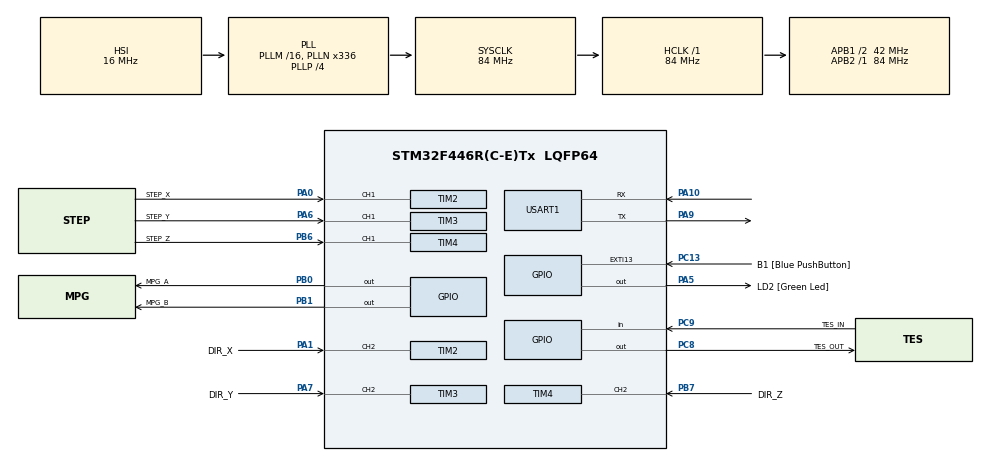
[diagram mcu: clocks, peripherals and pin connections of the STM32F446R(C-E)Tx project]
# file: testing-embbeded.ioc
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Mcu.Family=STM32F4
Mcu.Name=STM32F446R(C-E)Tx
Mcu.Package=LQFP64
NVIC.EXTI15_10_IRQn=true\:0\:0\:false\:false\:true\:true\:true\:true
NVIC.PriorityGroup=NVIC_PRIORITYGROUP_0
NVIC.USART1_IRQn=true\:0\:0\:false\:false\:true\:true\:true\:true
PA0-WKUP.GPIO_Label=STEP_X
PA0-WKUP.Signal=S_TIM2_CH1_ETR
PA1.GPIO_Label=DIR_X
PA1.Signal=S_TIM2_CH2
PA10.Mode=Asynchronous
PA10.Signal=USART1_RX
PA13.GPIO_Label=TMS
PA13.Mode=Serial_Wire
PA13.Signal=SYS_JTMS-SWDIO
PA14.GPIO_Label=TCK
PA14.Mode=Serial_Wire
PA14.Signal=SYS_JTCK-SWCLK
PA5.GPIO_Label=LD2 [Green Led]
PA5.Signal=GPIO_Output
PA6.GPIO_Label=STEP_Y
PA6.Signal=S_TIM3_CH1
PA7.GPIO_Label=DIR_Y
PA7.Signal=S_TIM3_CH2
PA9.Mode=Asynchronous
PA9.Signal=USART1_TX
PB0.GPIO_Label=MPG_A
PB0.Signal=GPIO_Output
PB1.GPIO_Label=MPG_B
PB1.Signal=GPIO_Output
PB3.GPIO_Label=SWO
PB3.Signal=SYS_JTDO-SWO
PB6.GPIO_Label=STEP_Z
PB6.Signal=S_TIM4_CH1
PB7.GPIO_Label=DIR_Z
PB7.Signal=S_TIM4_CH2
PC13.GPIO_Label=B1 [Blue PushButton]
PC13.GPIO_ModeDefaultEXTI=GPIO_MODE_IT_FALLING
PC13.Signal=GPXTI13
PC14-OSC32_IN.Mode=LSE-External-Oscillator
PC14-OSC32_IN.Signal=RCC_OSC32_IN
PC15-OSC32_OUT.Mode=LSE-External-Oscillator
PC15-OSC32_OUT.Signal=RCC_OSC32_OUT
PC8.GPIO_Label=TES_OUT
PC8.Signal=GPIO_Output
PC9.GPIO_Label=TES_IN
PC9.Signal=GPIO_Input
PH0-OSC_IN.Mode=HSE-External-Oscillator
PH0-OSC_IN.Signal=RCC_OSC_IN
PH1-OSC_OUT.Mode=HSE-External-Oscillator
PH1-OSC_OUT.Signal=RCC_OSC_OUT
ProjectManager.HeapSize=0x200
ProjectManager.StackSize=0x400
ProjectManager.TargetToolchain=STM32CubeIDE
RCC.48MHZClocksFreq_Value=84000000
RCC.AHBFreq_Value=84000000
RCC.APB1CLKDivider=RCC_HCLK_DIV2
RCC.APB1Freq_Value=42000000
RCC.APB1TimFreq_Value=84000000
RCC.APB2Freq_Value=84000000
RCC.APB2TimFreq_Value=84000000
RCC.CortexFreq_Value=84000000
RCC.FLatency-AdvancedSettings=FLASH_LATENCY_2
RCC.HCLKFreq_Value=84000000
RCC.HSE_VALUE=8000000
RCC.HSI_VALUE=16000000
RCC.PLLN=336
RCC.PLLP=RCC_PLLP_DIV4
RCC.SYSCLKFreq_VALUE=84000000
RCC.SYSCLKSource=RCC_SYSCLKSOURCE_PLLCLK
RCC.USBFreq_Value=168000000
RCC.VCOOutputFreq_Value=336000000
SH.S_TIM2_CH1_ETR.0=TIM2_CH1,Encoder_Interface
SH.S_TIM2_CH2.0=TIM2_CH2,Encoder_Interface
SH.S_TIM3_CH1.0=TIM3_CH1,Encoder_Interface
SH.S_TIM3_CH2.0=TIM3_CH2,Encoder_Interface
SH.S_TIM4_CH1.0=TIM4_CH1,Encoder_Interface
SH.S_TIM4_CH2.0=TIM4_CH2,Encoder_Interface
TIM4.EncoderMode=TIM_ENCODERMODE_TI1
USART1.VirtualMode=VM_ASYNC
board=NUCLEO-F446RE

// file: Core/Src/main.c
/* USER CODE BEGIN Header */
/* USER CODE END Header */
#include "main.h"

/* USER CODE BEGIN Includes */
#include <stdio.h>
#include <string.h>
#include <stdlib.h>
#include <stdbool.h>
/* USER CODE END Includes */

/* USER CODE BEGIN PD */
#define RX_BUFFER_SIZE 32
/* USER CODE END PD */

TIM_HandleTypeDef htim2;
TIM_HandleTypeDef htim3;
TIM_HandleTypeDef htim4;

UART_HandleTypeDef huart1;

/* USER CODE BEGIN PV */
uint8_t UART1_rxBuffer[RX_BUFFER_SIZE];
uint8_t rx_data[RX_BUFFER_SIZE];
uint8_t rx_flag = 0;
uint16_t current_x_count = 0;
uint16_t current_y_count = 0;
uint16_t current_z_count = 0;
/* USER CODE END PV */

void SystemClock_Config(void);
static void MX_GPIO_Init(void);
static void MX_TIM2_Init(void);
static void MX_TIM3_Init(void);
static void MX_TIM4_Init(void);
static void MX_USART1_UART_Init(void);
/* USER CODE BEGIN PFP */
void process_serial_command(void);
void generate_mpg_pulses(int count);
/* USER CODE END PFP */

/* USER CODE BEGIN 0 */

// Fungsi untuk mem-parsing dan mengeksekusi perintah serial
void process_serial_command(void) {

    if (strstr((char*)rx_data, "$READ") != NULL) {
        if (strstr((char*)rx_data, "$READ X") != NULL) {
            current_x_count = __HAL_TIM_GET_COUNTER(&htim2);
            char tx_buf[50];
            sprintf(tx_buf, "X:%d\r\n", current_x_count);
            HAL_UART_Transmit(&huart1, (uint8_t*)tx_buf, strlen(tx_buf), 100);
        } else if (strstr((char*)rx_data, "$READ Y") != NULL) {
            current_y_count = __HAL_TIM_GET_COUNTER(&htim3);
            char tx_buf[50];
            sprintf(tx_buf, "Y:%d\r\n", current_y_count);
            HAL_UART_Transmit(&huart1, (uint8_t*)tx_buf, strlen(tx_buf), 100);
        } else if (strstr((char*)rx_data, "$READ Z") != NULL) {
            current_z_count = __HAL_TIM_GET_COUNTER(&htim4);
            char tx_buf[50];
            sprintf(tx_buf, "Z:%d\r\n", current_z_count);
            HAL_UART_Transmit(&huart1, (uint8_t*)tx_buf, strlen(tx_buf), 100);
        }
    } else if (strstr((char*)rx_data, "$OUT =") != NULL) {
        if (strstr((char*)rx_data, "$OUT = 1") != NULL) {
            HAL_GPIO_WritePin(TES_OUT_GPIO_Port, TES_OUT_Pin, GPIO_PIN_SET);
            HAL_UART_Transmit(&huart1, (uint8_t*)"OUT:1\r\n", 7, 100);
        } else if (strstr((char*)rx_data, "$OUT = 0") != NULL) {
            HAL_GPIO_WritePin(TES_OUT_GPIO_Port, TES_OUT_Pin, GPIO_PIN_RESET);
            HAL_UART_Transmit(&huart1, (uint8_t*)"OUT:0\r\n", 7, 100);
        }
    } else if (strstr((char*)rx_data, "$IN?") != NULL) {
        GPIO_PinState pin_state = HAL_GPIO_ReadPin(TES_IN_GPIO_Port, TES_IN_Pin);
        char tx_buf[20];
        sprintf(tx_buf, "IN:%d\r\n", pin_state == GPIO_PIN_SET ? 1 : 0);
        HAL_UART_Transmit(&huart1, (uint8_t*)tx_buf, strlen(tx_buf), 100);
    } else if (strstr((char*)rx_data, "$MPG =") != NULL) {
        int count;
        sscanf((char*)rx_data, "$MPG = %d", &count);
        generate_mpg_pulses(count);
        char tx_buf[50];
        sprintf(tx_buf, "MPG:%d\r\n", count);
        HAL_UART_Transmit(&huart1, (uint8_t*)tx_buf, strlen(tx_buf), 100);
    } else if (strstr((char*)rx_data, "$$") != NULL) {
        // Tampilkan semua perintah
        HAL_UART_Transmit(&huart1, (uint8_t*)"--- Available Commands ---\r\n", 29, 100);
        HAL_UART_Transmit(&huart1, (uint8_t*)"$READ X\r\n", 9, 100);
        HAL_UART_Transmit(&huart1, (uint8_t*)"$READ Y\r\n", 9, 100);
        HAL_UART_Transmit(&huart1, (uint8_t*)"$READ Z\r\n", 9, 100);
        HAL_UART_Transmit(&huart1, (uint8_t*)"$OUT = 1\r\n", 10, 100);
        HAL_UART_Transmit(&huart1, (uint8_t*)"$OUT = 0\r\n", 10, 100);
        HAL_UART_Transmit(&huart1, (uint8_t*)"$IN?\r\n", 6, 100);
        HAL_UART_Transmit(&huart1, (uint8_t*)"$MPG = [count]\r\n", 16, 100);
        HAL_UART_Transmit(&huart1, (uint8_t*)"$$\r\n", 4, 100);
    }
}

// Fungsi untuk mensimulasikan pulsa MPG
void generate_mpg_pulses(int count) {
    // Simulasi putaran maju
    for (int i = 0; i < count; i++) {
        HAL_GPIO_WritePin(MPG_A_GPIO_Port, MPG_A_Pin, GPIO_PIN_SET);
        HAL_GPIO_WritePin(MPG_B_GPIO_Port, MPG_B_Pin, GPIO_PIN_RESET);
        HAL_Delay(5);
        HAL_GPIO_WritePin(MPG_A_GPIO_Port, MPG_A_Pin, GPIO_PIN_SET);
        HAL_GPIO_WritePin(MPG_B_GPIO_Port, MPG_B_Pin, GPIO_PIN_SET);
        HAL_Delay(5);
        HAL_GPIO_WritePin(MPG_A_GPIO_Port, MPG_A_Pin, GPIO_PIN_RESET);
        HAL_GPIO_WritePin(MPG_B_GPIO_Port, MPG_B_Pin, GPIO_PIN_SET);
        HAL_Delay(5);
        HAL_GPIO_WritePin(MPG_A_GPIO_Port, MPG_A_Pin, GPIO_PIN_RESET);
        HAL_GPIO_WritePin(MPG_B_GPIO_Port, MPG_B_Pin, GPIO_PIN_RESET);
        HAL_Delay(5);
    }
}
/* USER CODE END 0 */

int main(void)
{

  /* MCU Configuration--------------------------------------------------------*/

  /* Reset of all peripherals, Initializes the Flash interface and the Systick. */
  HAL_Init();

  /* Configure the system clock */
  SystemClock_Config();

  /* Initialize all configured peripherals */
  MX_GPIO_Init();
  MX_TIM2_Init();
  MX_TIM3_Init();
  MX_TIM4_Init();
  MX_USART1_UART_Init();
  /* USER CODE BEGIN 2 */
  // Mulai mode encoder untuk semua sumbu
   HAL_TIM_Encoder_Start(&htim2, TIM_CHANNEL_ALL);
   HAL_TIM_Encoder_Start(&htim3, TIM_CHANNEL_ALL);
   HAL_TIM_Encoder_Start(&htim4, TIM_CHANNEL_ALL);

   // Mulai penerimaan data serial
   HAL_UARTEx_ReceiveToIdle_IT(&huart1, UART1_rxBuffer, RX_BUFFER_SIZE);
  /* USER CODE END 2 */

  /* Infinite loop */
  /* USER CODE BEGIN WHILE */
       while (1)
       {
    	   if (rx_flag) {
			 process_serial_command();
			 rx_flag = 0;
		   }
    /* USER CODE END WHILE */

       }
}

void SystemClock_Config(void)
{
  RCC_OscInitTypeDef RCC_OscInitStruct = {0};
  RCC_ClkInitTypeDef RCC_ClkInitStruct = {0};

  /** Configure the main internal regulator output voltage
  */
  __HAL_RCC_PWR_CLK_ENABLE();
  __HAL_PWR_VOLTAGESCALING_CONFIG(PWR_REGULATOR_VOLTAGE_SCALE3);

  /** Initializes the RCC Oscillators according to the specified parameters
  * in the RCC_OscInitTypeDef structure.
  */
  RCC_OscInitStruct.OscillatorType = RCC_OSCILLATORTYPE_HSI;
  RCC_OscInitStruct.HSIState = RCC_HSI_ON;
  RCC_OscInitStruct.HSICalibrationValue = RCC_HSICALIBRATION_DEFAULT;
  RCC_OscInitStruct.PLL.PLLState = RCC_PLL_ON;
  RCC_OscInitStruct.PLL.PLLSource = RCC_PLLSOURCE_HSI;
  RCC_OscInitStruct.PLL.PLLM = 16;
  RCC_OscInitStruct.PLL.PLLN = 336;
  RCC_OscInitStruct.PLL.PLLP = RCC_PLLP_DIV4;
  RCC_OscInitStruct.PLL.PLLQ = 2;
  RCC_OscInitStruct.PLL.PLLR = 2;
  if (HAL_RCC_OscConfig(&RCC_OscInitStruct) != HAL_OK)
  {
    Error_Handler();
  }

  /** Initializes the CPU, AHB and APB buses clocks
  */
  RCC_ClkInitStruct.ClockType = RCC_CLOCKTYPE_HCLK|RCC_CLOCKTYPE_SYSCLK
                              |RCC_CLOCKTYPE_PCLK1|RCC_CLOCKTYPE_PCLK2;
  RCC_ClkInitStruct.SYSCLKSource = RCC_SYSCLKSOURCE_PLLCLK;
  RCC_ClkInitStruct.AHBCLKDivider = RCC_SYSCLK_DIV1;
  RCC_ClkInitStruct.APB1CLKDivider = RCC_HCLK_DIV2;
  RCC_ClkInitStruct.APB2CLKDivider = RCC_HCLK_DIV1;

  if (HAL_RCC_ClockConfig(&RCC_ClkInitStruct, FLASH_LATENCY_2) != HAL_OK)
  {
    Error_Handler();
  }
}

static void MX_TIM2_Init(void)
{

  TIM_Encoder_InitTypeDef sConfig = {0};
  TIM_MasterConfigTypeDef sMasterConfig = {0};

  htim2.Instance = TIM2;
  htim2.Init.Prescaler = 0;
  htim2.Init.CounterMode = TIM_COUNTERMODE_UP;
  htim2.Init.Period = 4294967295;
  htim2.Init.ClockDivision = TIM_CLOCKDIVISION_DIV1;
  htim2.Init.AutoReloadPreload = TIM_AUTORELOAD_PRELOAD_DISABLE;
  sConfig.EncoderMode = TIM_ENCODERMODE_TI1;
  sConfig.IC1Polarity = TIM_ICPOLARITY_RISING;
  sConfig.IC1Selection = TIM_ICSELECTION_DIRECTTI;
  sConfig.IC1Prescaler = TIM_ICPSC_DIV1;
  sConfig.IC1Filter = 0;
  sConfig.IC2Polarity = TIM_ICPOLARITY_RISING;
  sConfig.IC2Selection = TIM_ICSELECTION_DIRECTTI;
  sConfig.IC2Prescaler = TIM_ICPSC_DIV1;
  sConfig.IC2Filter = 0;
  if (HAL_TIM_Encoder_Init(&htim2, &sConfig) != HAL_OK)
  {
    Error_Handler();
  }
  sMasterConfig.MasterOutputTrigger = TIM_TRGO_RESET;
  sMasterConfig.MasterSlaveMode = TIM_MASTERSLAVEMODE_DISABLE;
  if (HAL_TIMEx_MasterConfigSynchronization(&htim2, &sMasterConfig) != HAL_OK)
  {
    Error_Handler();
  }

}

static void MX_TIM3_Init(void)
{

  TIM_Encoder_InitTypeDef sConfig = {0};
  TIM_MasterConfigTypeDef sMasterConfig = {0};

  htim3.Instance = TIM3;
  htim3.Init.Prescaler = 0;
  htim3.Init.CounterMode = TIM_COUNTERMODE_UP;
  htim3.Init.Period = 65535;
  htim3.Init.ClockDivision = TIM_CLOCKDIVISION_DIV1;
  htim3.Init.AutoReloadPreload = TIM_AUTORELOAD_PRELOAD_DISABLE;
  sConfig.EncoderMode = TIM_ENCODERMODE_TI1;
  sConfig.IC1Polarity = TIM_ICPOLARITY_RISING;
  sConfig.IC1Selection = TIM_ICSELECTION_DIRECTTI;
  sConfig.IC1Prescaler = TIM_ICPSC_DIV1;
  sConfig.IC1Filter = 0;
  sConfig.IC2Polarity = TIM_ICPOLARITY_RISING;
  sConfig.IC2Selection = TIM_ICSELECTION_DIRECTTI;
  sConfig.IC2Prescaler = TIM_ICPSC_DIV1;
  sConfig.IC2Filter = 0;
  if (HAL_TIM_Encoder_Init(&htim3, &sConfig) != HAL_OK)
  {
    Error_Handler();
  }
  sMasterConfig.MasterOutputTrigger = TIM_TRGO_RESET;
  sMasterConfig.MasterSlaveMode = TIM_MASTERSLAVEMODE_DISABLE;
  if (HAL_TIMEx_MasterConfigSynchronization(&htim3, &sMasterConfig) != HAL_OK)
  {
    Error_Handler();
  }

}

static void MX_TIM4_Init(void)
{

  TIM_Encoder_InitTypeDef sConfig = {0};
  TIM_MasterConfigTypeDef sMasterConfig = {0};

  htim4.Instance = TIM4;
  htim4.Init.Prescaler = 0;
  htim4.Init.CounterMode = TIM_COUNTERMODE_UP;
  htim4.Init.Period = 65535;
  htim4.Init.ClockDivision = TIM_CLOCKDIVISION_DIV1;
  htim4.Init.AutoReloadPreload = TIM_AUTORELOAD_PRELOAD_DISABLE;
  sConfig.EncoderMode = TIM_ENCODERMODE_TI1;
  sConfig.IC1Polarity = TIM_ICPOLARITY_RISING;
  sConfig.IC1Selection = TIM_ICSELECTION_DIRECTTI;
  sConfig.IC1Prescaler = TIM_ICPSC_DIV1;
  sConfig.IC1Filter = 0;
  sConfig.IC2Polarity = TIM_ICPOLARITY_RISING;
  sConfig.IC2Selection = TIM_ICSELECTION_DIRECTTI;
  sConfig.IC2Prescaler = TIM_ICPSC_DIV1;
  sConfig.IC2Filter = 0;
  if (HAL_TIM_Encoder_Init(&htim4, &sConfig) != HAL_OK)
  {
    Error_Handler();
  }
  sMasterConfig.MasterOutputTrigger = TIM_TRGO_RESET;
  sMasterConfig.MasterSlaveMode = TIM_MASTERSLAVEMODE_DISABLE;
  if (HAL_TIMEx_MasterConfigSynchronization(&htim4, &sMasterConfig) != HAL_OK)
  {
    Error_Handler();
  }

}

static void MX_USART1_UART_Init(void)
{

  huart1.Instance = USART1;
  huart1.Init.BaudRate = 115200;
  huart1.Init.WordLength = UART_WORDLENGTH_8B;
  huart1.Init.StopBits = UART_STOPBITS_1;
  huart1.Init.Parity = UART_PARITY_NONE;
  huart1.Init.Mode = UART_MODE_TX_RX;
  huart1.Init.HwFlowCtl = UART_HWCONTROL_NONE;
  huart1.Init.OverSampling = UART_OVERSAMPLING_16;
  if (HAL_UART_Init(&huart1) != HAL_OK)
  {
    Error_Handler();
  }

}

static void MX_GPIO_Init(void)
{
  GPIO_InitTypeDef GPIO_InitStruct = {0};

  /* GPIO Ports Clock Enable */
  __HAL_RCC_GPIOC_CLK_ENABLE();
  __HAL_RCC_GPIOH_CLK_ENABLE();
  __HAL_RCC_GPIOA_CLK_ENABLE();
  __HAL_RCC_GPIOB_CLK_ENABLE();

  /*Configure GPIO pin Output Level */
  HAL_GPIO_WritePin(LD2_GPIO_Port, LD2_Pin, GPIO_PIN_RESET);

  /*Configure GPIO pin Output Level */
  HAL_GPIO_WritePin(GPIOB, MPG_A_Pin|MPG_B_Pin, GPIO_PIN_RESET);

  /*Configure GPIO pin Output Level */
  HAL_GPIO_WritePin(TES_OUT_GPIO_Port, TES_OUT_Pin, GPIO_PIN_RESET);

  /*Configure GPIO pin : B1_Pin */
  GPIO_InitStruct.Pin = B1_Pin;
  GPIO_InitStruct.Mode = GPIO_MODE_IT_FALLING;
  GPIO_InitStruct.Pull = GPIO_NOPULL;
  HAL_GPIO_Init(B1_GPIO_Port, &GPIO_InitStruct);

  /*Configure GPIO pin : LD2_Pin */
  GPIO_InitStruct.Pin = LD2_Pin;
  GPIO_InitStruct.Mode = GPIO_MODE_OUTPUT_PP;
  GPIO_InitStruct.Pull = GPIO_NOPULL;
  GPIO_InitStruct.Speed = GPIO_SPEED_FREQ_LOW;
  HAL_GPIO_Init(LD2_GPIO_Port, &GPIO_InitStruct);

  /*Configure GPIO pins : MPG_A_Pin MPG_B_Pin */
  GPIO_InitStruct.Pin = MPG_A_Pin|MPG_B_Pin;
  GPIO_InitStruct.Mode = GPIO_MODE_OUTPUT_PP;
  GPIO_InitStruct.Pull = GPIO_NOPULL;
  GPIO_InitStruct.Speed = GPIO_SPEED_FREQ_LOW;
  HAL_GPIO_Init(GPIOB, &GPIO_InitStruct);

  /*Configure GPIO pin : TES_OUT_Pin */
  GPIO_InitStruct.Pin = TES_OUT_Pin;
  GPIO_InitStruct.Mode = GPIO_MODE_OUTPUT_PP;
  GPIO_InitStruct.Pull = GPIO_NOPULL;
  GPIO_InitStruct.Speed = GPIO_SPEED_FREQ_LOW;
  HAL_GPIO_Init(TES_OUT_GPIO_Port, &GPIO_InitStruct);

  /*Configure GPIO pin : TES_IN_Pin */
  GPIO_InitStruct.Pin = TES_IN_Pin;
  GPIO_InitStruct.Mode = GPIO_MODE_INPUT;
  GPIO_InitStruct.Pull = GPIO_NOPULL;
  HAL_GPIO_Init(TES_IN_GPIO_Port, &GPIO_InitStruct);

  /* EXTI interrupt init*/
  HAL_NVIC_SetPriority(EXTI15_10_IRQn, 0, 0);
  HAL_NVIC_EnableIRQ(EXTI15_10_IRQn);

}

/* USER CODE BEGIN 4 */
void HAL_UARTEx_RxEventCallback(UART_HandleTypeDef *huart, uint16_t Size)
{
    if(huart->Instance == huart1.Instance)
    {
        // Salin data yang diterima ke buffer lain
        memcpy(rx_data, UART1_rxBuffer, Size);
        // Tambahkan null terminator
        rx_data[Size] = '\0';
        rx_flag = 1;

        // TOGGLE A DEBUG LED
        HAL_GPIO_TogglePin(LD2_GPIO_Port, LD2_Pin);

        // Mulai lagi penerimaan data
        HAL_UARTEx_ReceiveToIdle_IT(&huart1, UART1_rxBuffer, RX_BUFFER_SIZE);
    }
}
/* USER CODE END 4 */

void Error_Handler(void)
{
}
